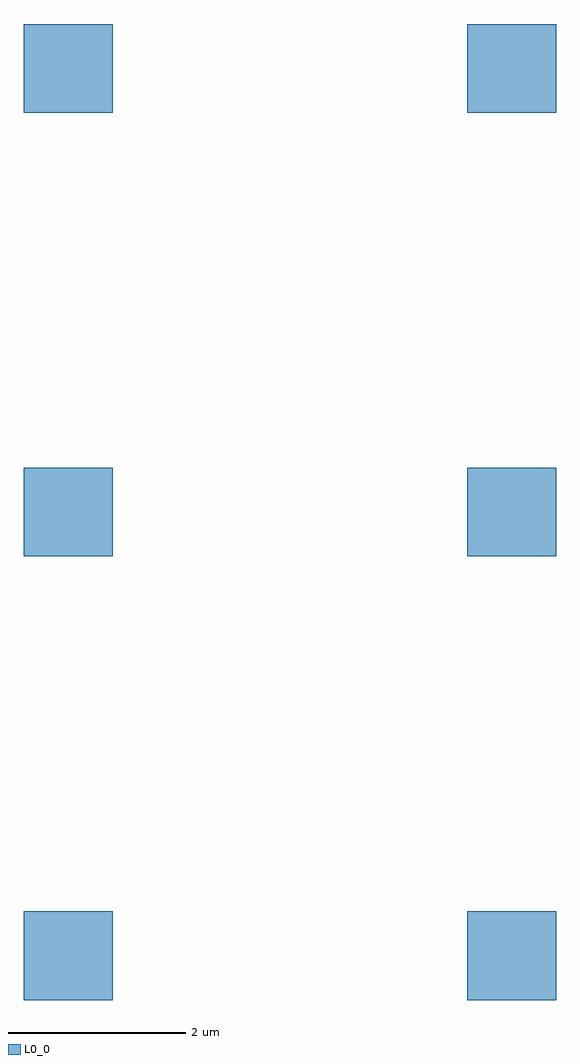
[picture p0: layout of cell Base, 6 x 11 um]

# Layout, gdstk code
import gdstk
lib = gdstk.Library(unit=1e-6, precision=1e-09)
def R(c, l, rs):  # rectangles x0, y0, x1, y1
    for r in rs: c.add(gdstk.rectangle(r[:2], r[2:], *l))
def A(c, l, x, y, w, h, nx, ny, dx, dy):  # array of equal rectangles
    R(c, l, [(x+i*dx, y+j*dy, x+i*dx+w, y+j*dy+h) for i in range(nx) for j in range(ny)])
L0_0 = (0, 0)

base = lib.new_cell('Base')
A(base, L0_0, 0, 0, 1, 1, 1, 3, 0, 5)
A(base, L0_0, 5, 0, 1, 1, 1, 3, 0, 5)

lib.write_gds('Base.gds')
